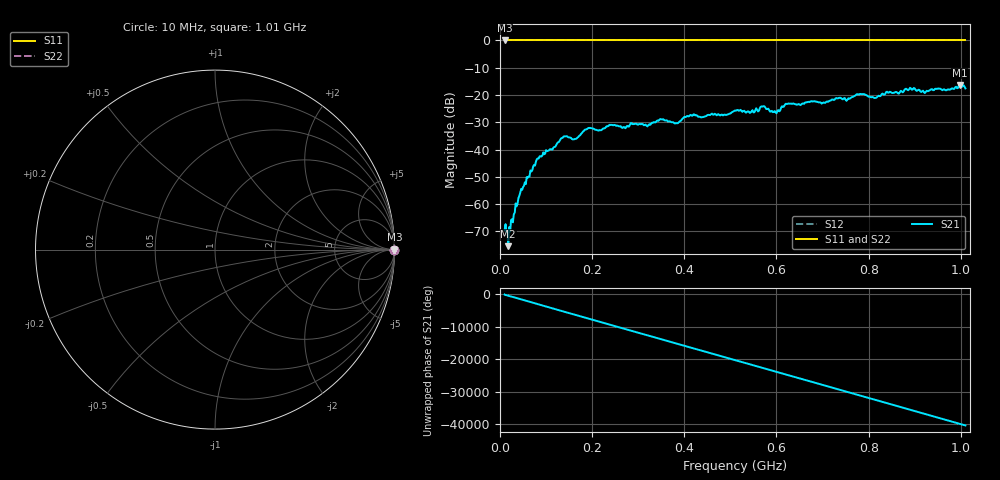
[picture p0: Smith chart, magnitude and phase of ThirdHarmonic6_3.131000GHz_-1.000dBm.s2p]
! 8/17/2025 9:19:17 AM
! C:\ANRITSUVNA\TEMP\TEMP.S2P
! CHANNEL.1
! TR.MEASUREMENT
! RAW.DATA
! RF.CORRECTION.OFF
! AVERAGING.OFF
! IF.BANDWIDTH: 5KHZ
! SWEEPTYPE:  FREQ.SWEEP(Linear)
! Reference Plane Port Info
! PORT:  PORT1  PORT2
! DISTANCE:  0  m  0  m
! TIME:  0  s  0  s
! PHASE.OFFSET:  0  deg.  0  deg.
! LOSS:  0  dB  0  dB
! REF.LOSS:  0  dB  0  dB
! REF.FREQ:  0  Hz  0  Hz
! Power Info
! POWER:  -20  dBm  -20  dBm
! EFF.POWER:  -20  dBm  -20  dBm
! SOURCE.ATTEN:  0  dB  0  dB
! TEST.ATTEN:  0  dB  0  dB
# GHZ S RI R 50.0
! FREQ.GHZ  S11RE  S11IM  S21RE  S21IM  S12RE  S12IM  S22RE  S22IM
!; PortSelection: Port_12
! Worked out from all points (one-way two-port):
!   501 points, 10 MHz to 1.01 GHz, reference 50 ohm
!   highest |S21| = -16.27 dB at 998 MHz (marker M1); lowest = -75.4 dB at 18 MHz (marker M2)
!   lowest |S11| = 0.0 dB at 10 MHz (marker M3)
!   |S11| at or under -10 dB: nowhere
!   |S22| runs from 0.0 to 0.0 dB; largest |S21 - S12| = 1.1
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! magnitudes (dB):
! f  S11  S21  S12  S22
! 10 MHz  0.0  -69.6  0.0  0.0
! 18 MHz  0.0  -75.4  0.0  0.0
! 44 MHz  0.0  -55.8  0.0  0.0
! 82 MHz  0.0  -43.3  0.0  0.0
! 136 MHz  0.0  -35.7  0.0  0.0
! 162 MHz  0.0  -36.1  0.0  0.0
! 178 MHz  0.0  -33.9  0.0  0.0
! 344 MHz  0.0  -29.5  0.0  0.0
! 382 MHz  0.0  -30.3  0.0  0.0
! 410 MHz  0.0  -27.8  0.0  0.0
! 510 MHz  0.0  -25.7  0.0  0.0
! 548 MHz  0.0  -25.6  0.0  0.0
! 570 MHz  0.0  -24.2  0.0  0.0
! 596 MHz  0.0  -25.9  0.0  0.0
! 624 MHz  0.0  -23.3  0.0  0.0
! 678 MHz  0.0  -22.4  0.0  0.0
! 754 MHz  0.0  -21.7  0.0  0.0
! 778 MHz  0.0  -19.8  0.0  0.0
! 814 MHz  0.0  -21.1  0.0  0.0
! 844 MHz  0.0  -19.1  0.0  0.0
! 998 MHz  0.0  -16.3  0.0  0.0
! 1.01 GHz  0.0  -17.6  0.0  0.0
